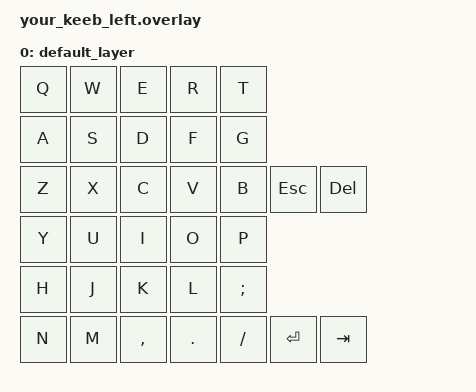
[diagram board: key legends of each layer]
/dts-v1/;
/plugin/;

/ {
    compatible = "zmk,keyboard";

    chosen {
        zmk,kscan = &kscan0;
        zmk,matrix_transform = &default_matrix_transform;
	zmk,keymap = &keymap;
    };

    default_matrix_transform: keymap_transform_0 {
        compatible = "zmk,matrix-transform";
        rows = <3>;
        columns = <7>;
        map = <
            RC(0,0) RC(0,1) RC(0,2) RC(0,3) RC(0,4) RC(0,5) RC(0,6)
            RC(1,0) RC(1,1) RC(1,2) RC(1,3) RC(1,4) RC(1,5) RC(1,6)
            RC(2,0) RC(2,1) RC(2,2) RC(2,3) RC(2,4) RC(2,5) RC(2,6)
        >;
    };

    kscan0: kscan {
        compatible = "zmk,kscan-gpio-matrix";
        label = "KSCAN";
        diode-direction = "col2row";

        // Filas (inputs) - LADO IZQUIERDO
        row-gpios
            = <&gpio1 15 (GPIO_ACTIVE_HIGH | GPIO_PULL_DOWN)>
            , <&gpio1 11 (GPIO_ACTIVE_HIGH | GPIO_PULL_DOWN)>
            , <&gpio0 10 (GPIO_ACTIVE_HIGH | GPIO_PULL_DOWN)>
            ;

        // Columnas (outputs) - LADO IZQUIERDO
        col-gpios
            = <&gpio1 6 GPIO_ACTIVE_HIGH>
            , <&gpio0 20 GPIO_ACTIVE_HIGH>
            , <&gpio0 22 GPIO_ACTIVE_HIGH>
            , <&gpio0 31 GPIO_ACTIVE_HIGH>
            , <&gpio0 29 GPIO_ACTIVE_HIGH>
            , <&gpio0 2 GPIO_ACTIVE_HIGH>
            , <&gpio0 9 GPIO_ACTIVE_HIGH>
            ;
    keymap: keymap {
        compatible = "zmk,keymap";
        default_layer {
            bindings = <
    // Left Side - Row 1
    &kp Q  &kp W  &kp E  &kp R  &kp T  
    // Left Side - Row 2  
    &kp A  &kp S  &kp D  &kp F  &kp G
    // Left Side - Row 3
    &kp Z  &kp X  &kp C  &kp V  &kp B  &kp ESC &kp DEL

    // Right Side - Row 1
    &kp Y  &kp U  &kp I  &kp O  &kp P
    // Right Side - Row 2
    &kp H  &kp J  &kp K  &kp L  &kp SEMI
    // Right Side - Row 3  
    &kp N  &kp M  &kp COMMA &kp DOT &kp SLASH &kp RET &kp TAB
            >;
        };
    };
    };
};
